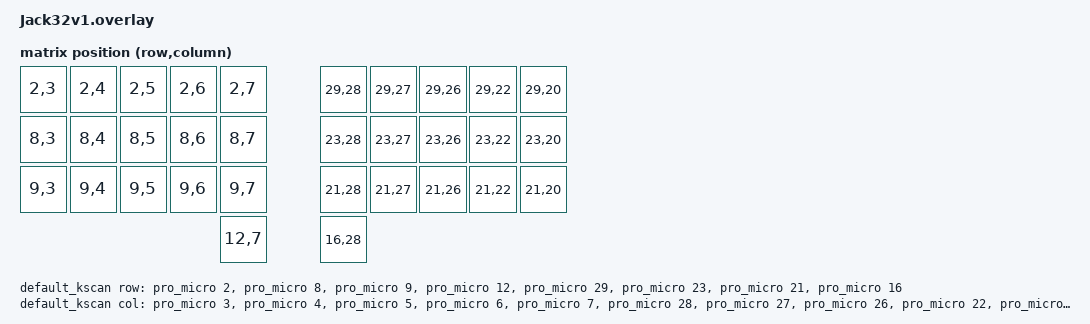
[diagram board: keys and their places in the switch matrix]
#include <dt-bindings/zmk/matrix_transform.h>

/ {
    chosen {
        zmk,kscan = &default_kscan;
        zmk,matrix_transform = &default_transform;
    };

    default_kscan: kscan {
        compatible = "zmk,kscan-gpio-matrix";
        label = "default_kscan";
        diode-direction = "col2row";

        col-gpios = <&pro_micro 3 GPIO_ACTIVE_HIGH>,
                    <&pro_micro 4 GPIO_ACTIVE_HIGH>,
                    <&pro_micro 5 GPIO_ACTIVE_HIGH>,
                    <&pro_micro 6 GPIO_ACTIVE_HIGH>,
                    <&pro_micro 7 GPIO_ACTIVE_HIGH>,
                    <&pro_micro 28 GPIO_ACTIVE_HIGH>,
                    <&pro_micro 27 GPIO_ACTIVE_HIGH>,
                    <&pro_micro 26 GPIO_ACTIVE_HIGH>,
                    <&pro_micro 22 GPIO_ACTIVE_HIGH>,
                    <&pro_micro 20 GPIO_ACTIVE_HIGH>;

        row-gpios = <&pro_micro 2 (GPIO_ACTIVE_HIGH | GPIO_PULL_DOWN)>,
                    <&pro_micro 8 (GPIO_ACTIVE_HIGH | GPIO_PULL_DOWN)>,
                    <&pro_micro 9 (GPIO_ACTIVE_HIGH | GPIO_PULL_DOWN)>,
                    <&pro_micro 12 (GPIO_ACTIVE_HIGH | GPIO_PULL_DOWN)>,
                    <&pro_micro 29 (GPIO_ACTIVE_HIGH | GPIO_PULL_DOWN)>,
                    <&pro_micro 23 (GPIO_ACTIVE_HIGH | GPIO_PULL_DOWN)>,
                    <&pro_micro 21 (GPIO_ACTIVE_HIGH | GPIO_PULL_DOWN)>,
                    <&pro_micro 16 (GPIO_ACTIVE_HIGH | GPIO_PULL_DOWN)>;
            
    };

    default_transform: matrix_transform {
        compatible = "zmk,matrix-transform";
        columns = <10>;
        rows = <8>;
/*
        TR1 TR2 TR3 TR4 TR5 --- --- TR6 TR7 TR8 TR9 TR10
        MR1 MR2 MR3 MR4 MR5 --- --- MR6 MR7 MR8 MR9 MR10
        BR1 BR2 BR3 BR4 BR5 --- --- BR6 BR7 BR8 BR9 BR10
        --- --- --- --- TH5 --- --- TH6 --- --- --- ----
*/
        map = <
                RC(2,3) RC(2,4) RC(2,5) RC(2,6) RC(2,7)      RC(29,28) RC(29,27) RC(29,26) RC(29,22) RC(29,20)
                RC(8,3) RC(8,4) RC(8,5) RC(8,6) RC(8,7)      RC(23,28) RC(23,27) RC(23,26) RC(23,22) RC(23,20)
                RC(9,3) RC(9,4) RC(9,5) RC(9,6) RC(9,7)      RC(21,28) RC(21,27) RC(21,26) RC(21,22) RC(21,20)
                                                RC(12,7)     RC(16,28)
        >;
    };
}
